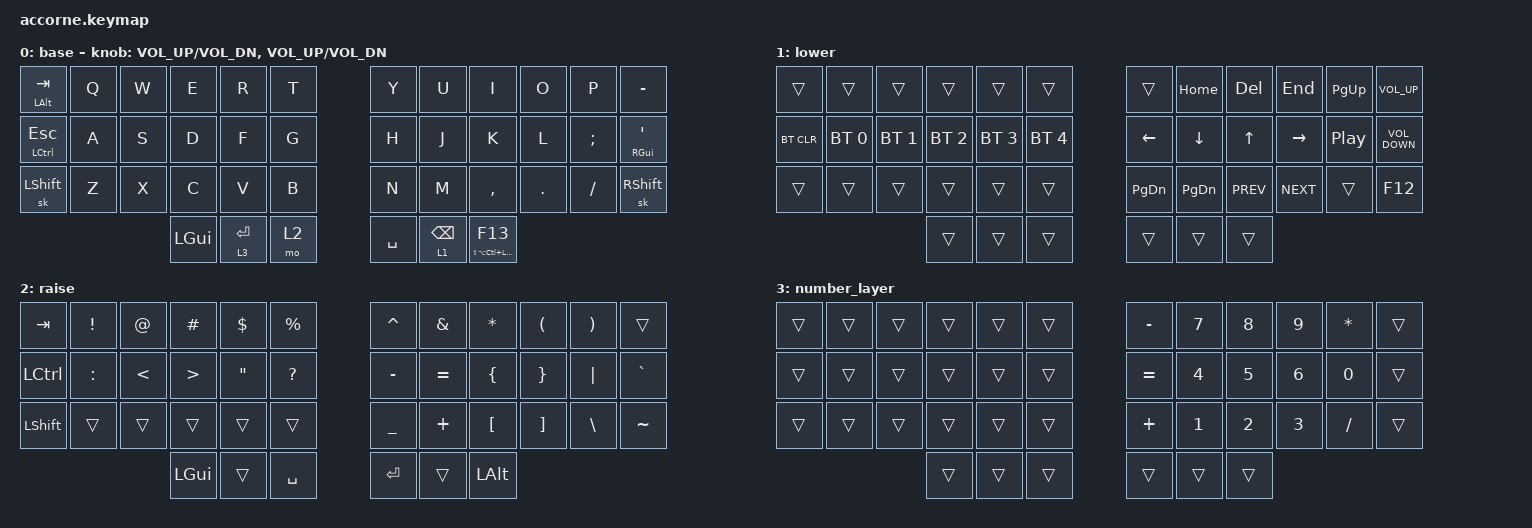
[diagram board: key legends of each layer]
#include <behaviors.dtsi>
#include <dt-bindings/zmk/bt.h>
#include <dt-bindings/zmk/keys.h>

/ {
    combos {
        compatible = "zmk,combos";

        combo_studio_unlock {
            timeout-ms = <50>;
            key-positions = <0 1>;
            bindings = <&studio_unlock>;
        };
    };

    keymap {
        compatible = "zmk,keymap";

        default_layer {
            display-name = "base";
            sensor-bindings = <&inc_dec_kp C_VOL_UP C_VOL_DN &inc_dec_kp C_VOL_UP C_VOL_DN>;

            // -----------------------------------------------------------------------------------------
            // |  TAB |  Q  |  W  |  E  |  R  |  T  |   |  Y  |  U   |  I  |  O  |  P  | BSPC |
            // | CTRL |  A  |  S  |  D  |  F  |  G  |   |  H  |  J   |  K  |  L  |  ;  |  '   |
            // | SHFT |  Z  |  X  |  C  |  V  |  B  |   |  N  |  M   |  ,  |  .  |  /  | ESC  |
            //                    | GUI | LWR | SPC |   | ENT | RSE  | ALT |

            bindings = <
&mt LEFT_ALT TAB  &kp Q  &kp W  &kp E     &kp R        &kp T  &kp Y      &kp U            &kp I                         &kp O    &kp P     &kp MINUS
&mt LCTRL ESCAPE  &kp A  &kp S  &kp D     &kp F        &kp G  &kp H      &kp J            &kp K                         &kp L    &kp SEMI  &mt RIGHT_GUI SQT
&sk LSHFT         &kp Z  &kp X  &kp C     &kp V        &kp B  &kp N      &kp M            &kp COMMA                     &kp DOT  &kp FSLH  &sk RIGHT_SHIFT
                                &kp LGUI  &lt 3 ENTER  &mo 2  &kp SPACE  &lt 1 BACKSPACE  &mt LS(LA(LC(LEFT_GUI))) F13
            >;
        };

        movement_layer {
            display-name = "lower";

            // -----------------------------------------------------------------------------------------
            // |  TAB |  1  |  2  |  3  |  4  |  5  |   |  6  |  7  |  8  |  9  |  0  | BSPC |
            // | BTCLR| BT1 | BT2 | BT3 | BT4 | BT5 |   | LFT | DWN |  UP | RGT |     |      |
            // | SHFT |     |     |     |     |     |   |     |     |     |     |     |      |
            //                    | GUI |     | SPC |   | ENT |     | ALT |

            bindings = <
&trans      &trans        &trans        &trans        &trans        &trans        &trans         &kp HOME       &kp DELETE  &kp END     &kp PAGE_UP       &kp C_VOLUME_UP
&bt BT_CLR  &bt BT_SEL 0  &bt BT_SEL 1  &bt BT_SEL 2  &bt BT_SEL 3  &bt BT_SEL 4  &kp LEFT       &kp DOWN       &kp UP      &kp RIGHT   &kp C_PLAY_PAUSE  &kp C_VOLUME_DOWN
&trans      &trans        &trans        &trans        &trans        &trans        &kp PAGE_DOWN  &kp PAGE_DOWN  &kp C_PREV  &kp C_NEXT  &trans            &kp F12
                                        &trans        &trans        &trans        &trans         &trans         &trans
            >;
        };

        symbol_layer {
            display-name = "raise";

            // -----------------------------------------------------------------------------------------
            // |  TAB |  !  |  @  |  #  |  $  |  %  |   |  ^  |  &  |  *  |  (  |  )  | BSPC |
            // | CTRL |     |     |     |     |     |   |  -  |  =  |  [  |  ]  |  \  |  `   |
            // | SHFT |     |     |     |     |     |   |  _  |  +  |  {  |  }  | "|" |  ~   |
            //                    | GUI |     | SPC |   | ENT |     | ALT |

            bindings = <
&kp TAB    &kp EXCL   &kp AT         &kp HASH          &kp DLLR           &kp PRCNT     &kp CARET  &kp AMPS   &kp ASTRK         &kp LPAR           &kp RPAR       &trans
&kp LCTRL  &kp COLON  &kp LESS_THAN  &kp GREATER_THAN  &kp DOUBLE_QUOTES  &kp QUESTION  &kp MINUS  &kp EQUAL  &kp LBRC          &kp RBRC           &kp PIPE       &kp GRAVE
&kp LSHFT  &trans     &trans         &trans            &trans             &trans        &kp UNDER  &kp PLUS   &kp LEFT_BRACKET  &kp RIGHT_BRACKET  &kp BACKSLASH  &kp TILDE
                                     &kp LGUI          &trans             &kp SPACE     &kp RET    &trans     &kp LALT
            >;
        };

        number_layer {
            bindings = <
&trans  &trans  &trans  &trans  &trans  &trans  &kp MINUS  &kp N7  &kp N8  &kp N9  &kp ASTERISK  &trans
&trans  &trans  &trans  &trans  &trans  &trans  &kp EQUAL  &kp N4  &kp N5  &kp N6  &kp N0        &trans
&trans  &trans  &trans  &trans  &trans  &trans  &kp PLUS   &kp N1  &kp N2  &kp N3  &kp FSLH      &trans
                        &trans  &trans  &trans  &trans     &trans  &trans
            >;
        };

        extra_layer0 {
            display-name = "extra_layer0";
            status = "reserved";
        };

        extra_layer1 {
            display-name = "extra_layer1";
            status = "reserved";
        };

        extra_layer2 {
            display-name = "extra_layer2";
            status = "reserved";
        };
    };
};
